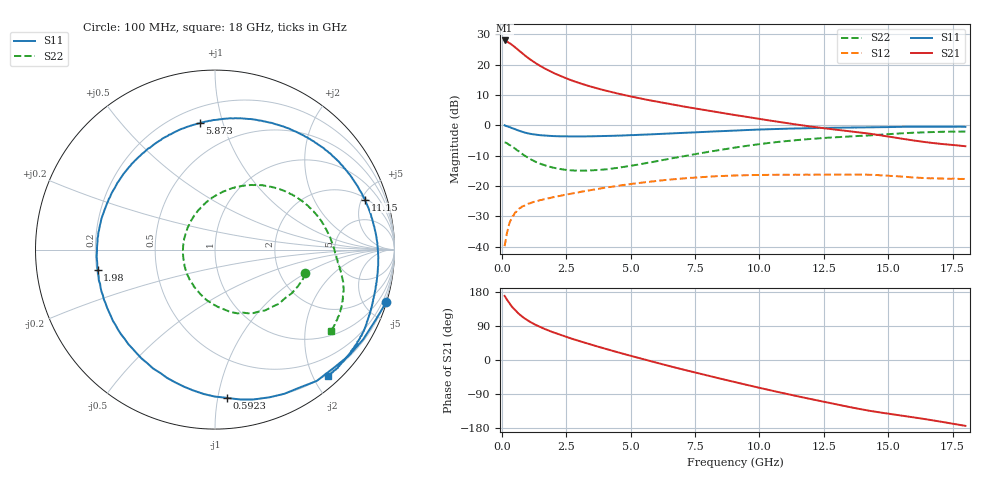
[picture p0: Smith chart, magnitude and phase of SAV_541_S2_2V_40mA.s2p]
! Data provided by Modelithics, Inc.  Tampa, Florida USA, June 2008
!Model SAV-541+
!VAR V_out= 2
!VAR I_out= 40
!VAR V_in= 0.4264
!VAR I_in= 0.9639
!BEGIN ACDATA
# GHZ S MA R 50
! Scattering Parameters
!% F n11x n11y n21x n21y n12x n12y n22x n22y
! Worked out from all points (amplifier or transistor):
!   401 points, 100 MHz to 18 GHz, reference 50 ohm
!   highest |S21| = 28.0 dB at 100 MHz (marker M1)
!   |S21| within 3 dB of that: start of sweep to 607.4 MHz
!   unconditionally stable (mu >= 1): 4.037 GHz to 10.96 GHz; 10.98339 GHz to 11.03574 GHz; 11.09966 GHz to 11.11701 GHz
!   at 3.054 GHz: K = 0.91, MSG = 17.9 dB, |S12| = -22.0 dB
!   at 9.05 GHz: K = 1.05, MAG = 8.6 dB, |S12| = -16.6 dB
!   at 18 GHz: K = 0.94, MSG = 5.4 dB, |S12| = -17.7 dB
!   lowest NFmin = 0.10 dB at 500 MHz
!   S11 on the Smith chart (normalised r, x): 100 MHz: 0.03, -6.69; 592.2 MHz: 0.20, -1.06; 1.98 GHz: 0.20, -0.08; 5.873 GHz: 0.30, +0.84; 11.15 GHz: 2.15, +5.31; 18 GHz: 0.18, -2.22
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0.1  0.9985 -17.0  25.05 169.3  0.01013 83.7  0.5162 -14.7
0.1895  0.9655 -31.2  23.83 159.5  0.01661 73.6  0.5057 -23.7
0.279  0.9339 -44.8  22.72 150.4  0.02356 64.9  0.4748 -34.8
0.3685  0.9021 -58.3  21.48 142.2  0.0285 61.5  0.45 -45.2
0.458  0.8775 -69.6  20.04 135.3  0.03293 56.7  0.4256 -53.8
0.59225  0.8286 -85.5  17.94 125.7  0.03993 50.5  0.3842 -66.1
0.7265  0.7937 -98.9  16.1 117.6  0.04372 44.6  0.352 -77.5
0.86075  0.7629 -110.6  14.47 110.6  0.04689 41.1  0.3195 -87.1
1.12925  0.7182 -129.7  11.9 99.2  0.05265 35.9  0.2723 -103.6
1.48725  0.6851 -149.6  9.499 86.9  0.05845 31.0  0.2314 -121.6
1.9795  0.6634 -170.2  7.367 73.3  0.06519 26.6  0.2001 -143.8
2.47175  0.6555 173.2  5.986 61.5  0.07142 23.1  0.1841 -162.3
3.09825  0.6538 155.6  4.82 48.0  0.08024 18.5  0.1783 176.7
4.35125  0.6704 126.4  3.447 23.2  0.09804 8.0  0.1956 141.2
5.87275  0.7101 96.7  2.518 -4.8  0.1184 -7.3  0.2484 107.8
6.0965  0.7183 92.7  2.417 -8.8  0.1218 -9.6  0.2595 103.8
7.439  0.762 70.6  1.913 -32.0  0.1365 -24.7  0.3305 80.8
9.05  0.8166 46.8  1.473 -58.2  0.1483 -43.1  0.4284 57.0
11.15325  0.88 18.5  1.071 -90.8  0.1529 -67.6  0.554 29.5
12.04825  0.8968 7.5  0.9473 -103.8  0.1529 -77.7  0.5975 18.9
15.0465  0.9339 -23.4  0.6485 -142.0  0.1467 -107.8  0.7151 -10.6
18  0.9418 -48.2  0.4511 -173.8  0.1303 -132.5  0.7892 -35.1
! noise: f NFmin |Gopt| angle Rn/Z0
0.5  0.099  0.274  17.32  0.064
0.7  0.138  0.2862  29.69  0.057
0.9  0.177  0.298  41.79  0.051
1  0.196  0.3039  47.74  0.048
1.9  0.371  0.3531  98.29  0.032
2.4  0.468  0.3779  124  0.03
3  0.584  0.4053  152.7  0.034
3.9  0.759  0.4415  -168.8  0.055
5  0.972  0.4778  -129.1  0.103
6  1.166  0.5031  -99.97  0.168
